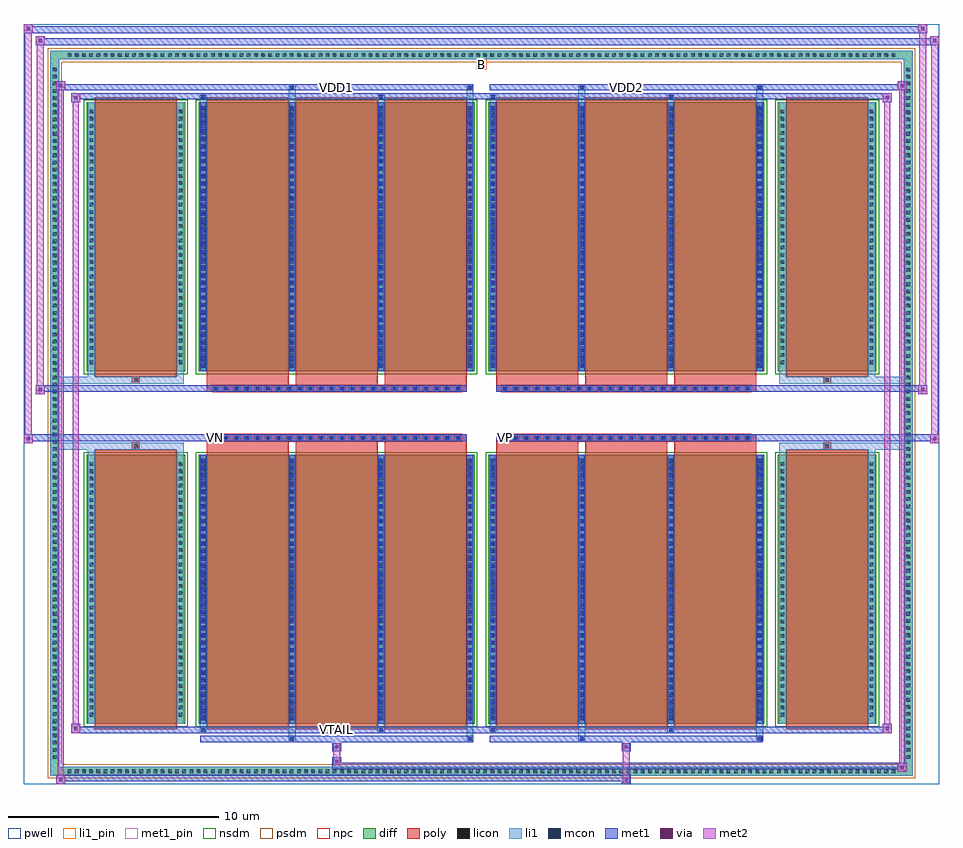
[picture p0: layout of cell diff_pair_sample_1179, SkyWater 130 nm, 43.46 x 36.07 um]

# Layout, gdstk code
import gdstk
lib = gdstk.Library(unit=1e-6, precision=5e-09)
def R(c, l, rs):  # rectangles x0, y0, x1, y1
    for r in rs: c.add(gdstk.rectangle(r[:2], r[2:], *l))
def A(c, l, x, y, w, h, nx, ny, dx, dy):  # array of equal rectangles
    R(c, l, [(x+i*dx, y+j*dy, x+i*dx+w, y+j*dy+h) for i in range(nx) for j in range(ny)])
def P(c, l, *ps):  # polygons
    for p in ps: c.add(gdstk.Polygon(p, *l))
pwell = (64, 44)
diff = (65, 20)
poly = (66, 20)
licon = (66, 44)
li1_pin = (67, 16)
li1 = (67, 20)
mcon = (67, 44)
met1_pin = (68, 16)
met1 = (68, 20)
via = (68, 44)
met2 = (69, 20)
nsdm = (93, 44)
psdm = (94, 20)
npc = (95, 20)

diff_pair_sample_1179 = lib.new_cell('diff_pair_sample_1179')
R(diff_pair_sample_1179, pwell, [(-21.73,-17.6,21.73,18.47), (-19.05,-15.79,-0.01,-0.805), (0.01,-15.79,19.05,-0.805), (-19.05,0.805,-0.01,15.79), (0.01,0.805,19.05,15.79)])
A(diff_pair_sample_1179, diff, -19.755, -17.2, 0.41, 0.41, 116, 2, 0.34, 33.99)
A(diff_pair_sample_1179, diff, -20.46, -16.525, 0.41, 0.41, 1, 97, 0, 0.34)
A(diff_pair_sample_1179, diff, 20.05, -16.525, 0.41, 0.41, 1, 97, 0, 0.34)
R(diff_pair_sample_1179, diff, [(-19.755,-17.2,19.755,-16.79), (-20.46,-16.525,-20.05,16.525), (20.05,-16.525,20.46,16.525), (-18.74,-14.745,-14.07,-1.985), (-13.43,-14.745,-0.32,-1.985), (0.32,-14.745,13.43,-1.985), (14.07,-14.745,18.74,-1.985), (-18.74,1.985,-14.07,14.745), (-13.43,1.985,-0.32,14.745), (0.32,1.985,13.43,14.745), (14.07,1.985,18.74,14.745), (-19.755,16.79,19.755,17.2)])
P(diff_pair_sample_1179, diff, [(20.46,17.2),(-20.46,17.2),(-20.46,-16.79),(-20.05,-16.79),(-20.05,16.79),(20.05,16.79),(20.05,-16.79),(-20.05,-16.79),(-20.46,-16.79),(-20.46,-17.2),(20.46,-17.2)])
A(diff_pair_sample_1179, poly, -13.04, -14.995, 3.89, 13.26, 3, 2, 4.22, 16.73)
A(diff_pair_sample_1179, poly, 0.71, -14.995, 3.89, 13.26, 3, 2, 4.22, 16.73)
A(diff_pair_sample_1179, poly, -13.04, -1.735, 3.89, 0.4, 3, 2, 4.22, 3.07)
A(diff_pair_sample_1179, poly, 0.71, -1.735, 3.89, 0.4, 3, 2, 4.22, 3.07)
A(diff_pair_sample_1179, poly, -12.79, -1.335, 0.33, 0.33, 24, 2, 0.5, 2.34)
A(diff_pair_sample_1179, poly, 0.96, -1.335, 0.33, 0.33, 24, 2, 0.5, 2.34)
R(diff_pair_sample_1179, poly, [(-18.35,-14.995,-14.46,-1.735), (14.46,-14.995,18.35,-1.735), (-16.57,-1.735,-16.24,-1.405), (-16.57,-1.735,-16.24,-1.405), (16.24,-1.735,16.57,-1.405), (16.24,-1.735,16.57,-1.405), (-13.04,-1.335,-0.71,-1.005), (0.71,-1.335,13.04,-1.005), (-13.04,1.005,-0.71,1.335), (0.71,1.005,13.04,1.335), (-16.57,1.405,-16.24,1.735), (-16.57,1.405,-16.24,1.735), (16.24,1.405,16.57,1.735), (16.24,1.405,16.57,1.735), (-18.35,1.735,-14.46,14.995), (14.46,1.735,18.35,14.995)])
A(diff_pair_sample_1179, licon, -19.635, -17.08, 0.17, 0.17, 116, 2, 0.34, 33.99)
A(diff_pair_sample_1179, licon, -20.34, -16.405, 0.17, 0.17, 1, 97, 0, 0.34)
A(diff_pair_sample_1179, licon, 20.17, -16.405, 0.17, 0.17, 1, 97, 0, 0.34)
A(diff_pair_sample_1179, licon, -18.6, -14.4, 0.17, 0.17, 1, 36, 0, 0.34)
A(diff_pair_sample_1179, licon, -14.38, -14.4, 0.17, 0.17, 1, 36, 0, 0.34)
A(diff_pair_sample_1179, licon, -13.29, -14.4, 0.17, 0.17, 4, 36, 4.22, 0.34)
A(diff_pair_sample_1179, licon, 0.46, -14.4, 0.17, 0.17, 4, 36, 4.22, 0.34)
A(diff_pair_sample_1179, licon, 14.21, -14.4, 0.17, 0.17, 1, 36, 0, 0.34)
A(diff_pair_sample_1179, licon, 18.43, -14.4, 0.17, 0.17, 1, 36, 0, 0.34)
A(diff_pair_sample_1179, licon, -12.71, -1.255, 0.17, 0.17, 24, 2, 0.5, 2.34)
A(diff_pair_sample_1179, licon, 1.04, -1.255, 0.17, 0.17, 24, 2, 0.5, 2.34)
A(diff_pair_sample_1179, licon, -18.6, 2.33, 0.17, 0.17, 1, 36, 0, 0.34)
A(diff_pair_sample_1179, licon, -14.38, 2.33, 0.17, 0.17, 1, 36, 0, 0.34)
A(diff_pair_sample_1179, licon, -13.29, 2.33, 0.17, 0.17, 4, 36, 4.22, 0.34)
A(diff_pair_sample_1179, licon, 0.46, 2.33, 0.17, 0.17, 4, 36, 4.22, 0.34)
A(diff_pair_sample_1179, licon, 14.21, 2.33, 0.17, 0.17, 1, 36, 0, 0.34)
A(diff_pair_sample_1179, licon, 18.43, 2.33, 0.17, 0.17, 1, 36, 0, 0.34)
R(diff_pair_sample_1179, licon, [(-16.49,-1.655,-16.32,-1.485), (16.32,-1.655,16.49,-1.485), (-16.49,1.485,-16.32,1.655), (16.32,1.485,16.49,1.655)])
R(diff_pair_sample_1179, li1_pin, [(-0.25,16.29,0.25,16.79)])
A(diff_pair_sample_1179, li1, -19.715, -17.16, 0.33, 0.33, 116, 2, 0.34, 33.99)
A(diff_pair_sample_1179, li1, -20.42, -16.485, 0.33, 0.33, 1, 97, 0, 0.34)
A(diff_pair_sample_1179, li1, 20.09, -16.485, 0.33, 0.33, 1, 97, 0, 0.34)
A(diff_pair_sample_1179, li1, -13.37, -14.745, 0.33, 12.76, 4, 2, 4.22, 16.73)
A(diff_pair_sample_1179, li1, 0.38, -14.745, 0.33, 12.76, 4, 2, 4.22, 16.73)
A(diff_pair_sample_1179, li1, -13.29, -14.57, 0.17, 0.17, 4, 35, 4.22, 0.36)
A(diff_pair_sample_1179, li1, -13.29, -14.57, 0.17, 12.41, 4, 2, 4.22, 16.73)
A(diff_pair_sample_1179, li1, 0.46, -14.57, 0.17, 0.17, 4, 35, 4.22, 0.36)
A(diff_pair_sample_1179, li1, 0.46, -14.57, 0.17, 12.41, 4, 2, 4.22, 16.73)
A(diff_pair_sample_1179, li1, -18.68, -14.48, 0.33, 0.33, 1, 36, 0, 0.34)
A(diff_pair_sample_1179, li1, -14.46, -14.48, 0.33, 0.33, 1, 36, 0, 0.34)
A(diff_pair_sample_1179, li1, -13.37, -14.48, 0.33, 0.33, 4, 36, 4.22, 0.34)
A(diff_pair_sample_1179, li1, 0.38, -14.48, 0.33, 0.33, 4, 36, 4.22, 0.34)
A(diff_pair_sample_1179, li1, 14.13, -14.48, 0.33, 0.33, 1, 36, 0, 0.34)
A(diff_pair_sample_1179, li1, 18.35, -14.48, 0.33, 0.33, 1, 36, 0, 0.34)
A(diff_pair_sample_1179, li1, -12.79, -1.335, 0.33, 0.33, 24, 2, 0.5, 2.34)
A(diff_pair_sample_1179, li1, 0.96, -1.335, 0.33, 0.33, 24, 2, 0.5, 2.34)
A(diff_pair_sample_1179, li1, -13.29, 2.16, 0.17, 0.17, 4, 35, 4.22, 0.36)
A(diff_pair_sample_1179, li1, 0.46, 2.16, 0.17, 0.17, 4, 35, 4.22, 0.36)
A(diff_pair_sample_1179, li1, -18.68, 2.25, 0.33, 0.33, 1, 36, 0, 0.34)
A(diff_pair_sample_1179, li1, -14.46, 2.25, 0.33, 0.33, 1, 36, 0, 0.34)
A(diff_pair_sample_1179, li1, -13.37, 2.25, 0.33, 0.33, 4, 36, 4.22, 0.34)
A(diff_pair_sample_1179, li1, 0.38, 2.25, 0.33, 0.33, 4, 36, 4.22, 0.34)
A(diff_pair_sample_1179, li1, 14.13, 2.25, 0.33, 0.33, 1, 36, 0, 0.34)
A(diff_pair_sample_1179, li1, 18.35, 2.25, 0.33, 0.33, 1, 36, 0, 0.34)
R(diff_pair_sample_1179, li1, [(-20.46,-17.2,-20.05,-16.79), (-20.46,-17.2,-20.05,-16.79), (-20.05,-17.2,20.05,-16.79), (20.05,-17.2,20.46,-16.79), (20.05,-17.2,20.46,-16.79), (-20.46,-16.79,-20.05,16.79), (20.05,-16.79,20.46,16.79), (-9.15,-15.55,-8.82,-14.745), (-9.07,-15.55,-8.9,-15.38), (-0.71,-15.55,-0.38,-14.745), (-0.63,-15.55,-0.46,-15.38), (4.6,-15.55,4.93,-14.745), (4.68,-15.55,4.85,-15.38), (13.04,-15.55,13.37,-14.745), (13.12,-15.55,13.29,-15.38), (-13.37,-15.12,-13.04,-14.745), (-13.29,-15.12,-13.12,-14.95), (-4.93,-15.12,-4.6,-14.745), (-4.85,-15.12,-4.68,-14.95), (0.38,-15.12,0.71,-14.745), (0.46,-15.12,0.63,-14.95), (8.82,-15.12,9.15,-14.745), (8.9,-15.12,9.07,-14.95), (-18.68,-14.745,-18.35,-1.985), (-14.46,-14.745,-14.13,-1.985), (14.13,-14.745,14.46,-1.985), (18.35,-14.745,18.68,-1.985), (-18.68,-1.985,-18.35,-1.405), (-14.46,-1.985,-14.13,-1.405), (14.13,-1.985,14.46,-1.405), (18.35,-1.985,18.68,-1.405), (-20.46,-1.735,-16.57,-1.405), (-18.68,-1.735,-16.57,-1.405), (-16.57,-1.735,-16.24,-1.405), (-16.24,-1.735,-14.13,-1.405), (14.13,-1.735,16.24,-1.405), (16.24,-1.735,16.57,-1.405), (16.24,-1.735,20.46,-1.405), (16.57,-1.735,18.68,-1.405), (-20.46,1.405,-16.57,1.735), (-18.68,1.405,-16.57,1.735), (-18.68,1.405,-18.35,1.985), (-16.57,1.405,-16.24,1.735), (-16.24,1.405,-14.13,1.735), (-14.46,1.405,-14.13,1.985), (14.13,1.405,16.24,1.735), (14.13,1.405,14.46,1.985), (16.24,1.405,16.57,1.735), (16.24,1.405,20.46,1.735), (16.57,1.405,18.68,1.735), (18.35,1.405,18.68,1.985), (-18.68,1.985,-18.35,14.745), (-14.46,1.985,-14.13,14.745), (14.13,1.985,14.46,14.745), (18.35,1.985,18.68,14.745), (-13.37,14.745,-13.04,15.12), (-9.15,14.745,-8.82,15.55), (-4.93,14.745,-4.6,15.12), (-0.71,14.745,-0.38,15.55), (0.38,14.745,0.71,15.12), (4.6,14.745,4.93,15.55), (8.82,14.745,9.15,15.12), (13.04,14.745,13.37,15.55), (-13.29,14.95,-13.12,15.12), (-4.85,14.95,-4.68,15.12), (0.46,14.95,0.63,15.12), (8.9,14.95,9.07,15.12), (-9.07,15.38,-8.9,15.55), (-0.63,15.38,-0.46,15.55), (4.68,15.38,4.85,15.55), (13.12,15.38,13.29,15.55), (-20.46,16.79,-20.05,17.2), (-20.46,16.79,-20.05,17.2), (-20.05,16.79,20.05,17.2), (20.05,16.79,20.46,17.2), (20.05,16.79,20.46,17.2)])
A(diff_pair_sample_1179, mcon, -13.29, -14.57, 0.17, 0.17, 4, 35, 4.22, 0.36)
A(diff_pair_sample_1179, mcon, 0.46, -14.57, 0.17, 0.17, 4, 35, 4.22, 0.36)
A(diff_pair_sample_1179, mcon, -12.71, -1.255, 0.17, 0.17, 24, 2, 0.5, 2.34)
A(diff_pair_sample_1179, mcon, 1.04, -1.255, 0.17, 0.17, 24, 2, 0.5, 2.34)
A(diff_pair_sample_1179, mcon, -13.29, 2.16, 0.17, 0.17, 4, 35, 4.22, 0.36)
A(diff_pair_sample_1179, mcon, 0.46, 2.16, 0.17, 0.17, 4, 35, 4.22, 0.36)
R(diff_pair_sample_1179, mcon, [(-9.07,-15.55,-8.9,-15.38), (-0.63,-15.55,-0.46,-15.38), (4.68,-15.55,4.85,-15.38), (13.12,-15.55,13.29,-15.38), (-13.29,-15.12,-13.12,-14.95), (-4.85,-15.12,-4.68,-14.95), (0.46,-15.12,0.63,-14.95), (8.9,-15.12,9.07,-14.95), (-13.29,14.95,-13.12,15.12), (-4.85,14.95,-4.68,15.12), (0.46,14.95,0.63,15.12), (8.9,14.95,9.07,15.12), (-9.07,15.38,-8.9,15.55), (-0.63,15.38,-0.46,15.55), (4.68,15.38,4.85,15.55), (13.12,15.38,13.29,15.55)])
R(diff_pair_sample_1179, met1_pin, [(-7.01,-15.16,-6.74,-14.89), (-12.76,-1.295,-12.49,-1.025), (0.99,-1.295,1.26,-1.025), (-7.01,15.34,-6.74,15.61), (6.74,15.34,7.01,15.61)])
A(diff_pair_sample_1179, met1, -13.35, -14.745, 0.29, 12.76, 4, 2, 4.22, 16.73)
A(diff_pair_sample_1179, met1, 0.4, -14.745, 0.29, 12.76, 4, 2, 4.22, 16.73)
A(diff_pair_sample_1179, met1, -13.35, -14.63, 0.29, 0.29, 4, 35, 4.22, 0.36)
A(diff_pair_sample_1179, met1, 0.4, -14.63, 0.29, 0.29, 4, 35, 4.22, 0.36)
A(diff_pair_sample_1179, met1, -12.77, -1.315, 0.29, 0.29, 24, 2, 0.5, 2.34)
A(diff_pair_sample_1179, met1, 0.98, -1.315, 0.29, 0.29, 24, 2, 0.5, 2.34)
A(diff_pair_sample_1179, met1, -13.35, 2.1, 0.29, 0.29, 4, 35, 4.22, 0.36)
A(diff_pair_sample_1179, met1, 0.4, 2.1, 0.29, 0.29, 4, 35, 4.22, 0.36)
R(diff_pair_sample_1179, met1, [(-20.19,-17.6,-19.76,-17.17), (6.66,-17.6,7.09,-17.17), (-20.19,-17.46,7.09,-17.17), (19.76,-17.03,20.19,-16.6), (-7.09,-16.89,20.19,-16.6), (-7.09,-16.75,-6.66,-16.32), (-7.09,-16.04,-6.66,-15.61), (6.66,-16.04,7.09,-15.61), (-13.35,-15.61,-0.4,-15.32), (-9.13,-15.61,-8.84,-15.32), (-0.69,-15.61,-0.4,-15.32), (0.4,-15.61,13.35,-15.32), (4.62,-15.61,4.91,-15.32), (13.06,-15.61,13.35,-15.32), (-19.48,-15.18,-19.05,-14.75), (-19.48,-15.18,-13.35,-14.89), (-13.35,-15.18,-13.06,-14.89), (-13.35,-15.18,-0.4,-14.89), (-4.91,-15.18,-4.62,-14.89), (-0.4,-15.18,0.4,-14.89), (0.4,-15.18,0.69,-14.89), (0.4,-15.18,13.35,-14.89), (8.84,-15.18,9.13,-14.89), (13.35,-15.18,19.48,-14.89), (19.05,-15.18,19.48,-14.75), (-21.73,-1.435,-21.3,-1.005), (21.3,-1.435,21.73,-1.005), (-21.73,-1.335,-0.71,-1.005), (-13.04,-1.335,-0.71,-1.005), (0.71,-1.335,13.04,-1.005), (0.71,-1.335,21.73,-1.005), (-21.16,0.905,-20.73,1.335), (20.73,0.905,21.16,1.335), (-21.16,1.005,-13.04,1.335), (-13.04,1.005,-0.71,1.335), (0.71,1.005,13.04,1.335), (13.04,1.005,21.16,1.335), (-19.48,14.75,-19.05,15.18), (19.05,14.75,19.48,15.18), (-19.48,14.89,-13.35,15.18), (-13.35,14.89,-13.06,15.18), (-13.35,14.89,-0.4,15.18), (-4.91,14.89,-4.62,15.18), (-0.4,14.89,0.4,15.18), (0.4,14.89,0.69,15.18), (0.4,14.89,13.35,15.18), (8.84,14.89,9.13,15.18), (13.35,14.89,19.48,15.18), (-20.19,15.32,-19.76,15.75), (-20.19,15.32,-13.35,15.61), (-13.35,15.32,-0.4,15.61), (-9.13,15.32,-8.84,15.61), (-0.69,15.32,-0.4,15.61), (0.4,15.32,13.35,15.61), (4.62,15.32,4.91,15.61), (13.06,15.32,13.35,15.61), (13.35,15.32,20.19,15.61), (19.76,15.32,20.19,15.75), (-21.16,17.47,-20.73,17.9), (-21.16,17.47,-19.05,17.8), (-19.05,17.47,19.05,17.8), (19.05,17.47,21.73,17.8), (21.3,17.47,21.73,17.9), (-21.73,18.04,-21.3,18.47), (-21.73,18.04,-19.05,18.37), (-19.05,18.04,19.05,18.37), (19.05,18.04,21.16,18.37), (20.73,18.04,21.16,18.47)])
R(diff_pair_sample_1179, via, [(-20.05,-17.46,-19.9,-17.31), (6.8,-17.46,6.95,-17.31), (19.9,-16.89,20.05,-16.74), (-6.95,-16.61,-6.8,-16.46), (-6.95,-15.9,-6.8,-15.75), (6.8,-15.9,6.95,-15.75), (-19.34,-15.04,-19.19,-14.89), (19.19,-15.04,19.34,-14.89), (-21.59,-1.295,-21.44,-1.145), (21.44,-1.295,21.59,-1.145), (-21.02,1.045,-20.87,1.195), (20.87,1.045,21.02,1.195), (-19.34,14.89,-19.19,15.04), (19.19,14.89,19.34,15.04), (-20.05,15.46,-19.9,15.61), (19.9,15.46,20.05,15.61), (-21.02,17.61,-20.87,17.76), (21.44,17.61,21.59,17.76), (-21.59,18.18,-21.44,18.33), (20.87,18.18,21.02,18.33)])
R(diff_pair_sample_1179, met2, [(-20.19,-17.6,-19.76,-17.17), (-20.12,-17.6,-19.83,15.75), (-19.83,-17.6,-19.76,-17.17), (-20.14,-17.55,-19.81,-17.22), (6.71,-17.55,7.04,-17.22), (6.71,-17.22,7.04,-15.99), (19.76,-17.03,20.19,-16.6), (19.83,-17.03,20.12,15.75), (20.12,-17.03,20.19,-16.6), (19.81,-16.98,20.14,-16.65), (-7.04,-16.7,-6.71,-16.37), (-7.04,-16.37,-6.71,-15.99), (-7.04,-15.99,-6.71,-15.66), (6.71,-15.99,7.04,-15.66), (-19.48,-15.18,-19.05,-14.75), (-19.41,-15.18,-19.12,15.18), (-19.12,-15.18,-19.05,-14.75), (19.05,-15.18,19.48,-14.75), (19.12,-15.18,19.41,15.18), (19.41,-15.18,19.48,-14.75), (-19.43,-15.13,-19.1,-14.8), (19.1,-15.13,19.43,-14.8), (-21.73,-1.435,-21.3,-1.005), (-21.68,-1.435,-21.35,18.47), (-21.35,-1.435,-21.3,-1.005), (21.3,-1.435,21.73,-1.005), (21.35,-1.435,21.68,17.9), (21.68,-1.435,21.73,-1.005), (-21.68,-1.385,-21.35,-1.055), (21.35,-1.385,21.68,-1.055), (-21.16,0.905,-20.73,1.335), (-21.11,0.905,-20.78,17.9), (-20.78,0.905,-20.73,1.335), (20.73,0.905,21.16,1.335), (20.78,0.905,21.11,18.47), (21.11,0.905,21.16,1.335), (-21.11,0.955,-20.78,1.285), (20.78,0.955,21.11,1.285), (-19.48,14.75,-19.05,15.18), (-19.12,14.75,-19.05,15.18), (19.05,14.75,19.48,15.18), (19.41,14.75,19.48,15.18), (-19.43,14.8,-19.1,15.13), (19.1,14.8,19.43,15.13), (-20.19,15.32,-19.76,15.75), (-19.83,15.32,-19.76,15.75), (19.76,15.32,20.19,15.75), (20.12,15.32,20.19,15.75), (-20.14,15.37,-19.81,15.7), (19.81,15.37,20.14,15.7), (-21.16,17.47,-20.73,17.9), (-20.78,17.47,-20.73,17.9), (21.3,17.47,21.73,17.9), (21.68,17.47,21.73,17.9), (-21.11,17.52,-20.78,17.85), (21.35,17.52,21.68,17.85), (-21.73,18.04,-21.3,18.47), (-21.35,18.04,-21.3,18.47), (20.73,18.04,21.16,18.47), (21.11,18.04,21.16,18.47), (-21.68,18.09,-21.35,18.42), (20.78,18.09,21.11,18.42)])
R(diff_pair_sample_1179, nsdm, [(-18.87,-14.875,-13.94,-1.855), (-13.56,-14.875,-0.19,-1.855), (0.19,-14.875,13.56,-1.855), (13.94,-14.875,18.87,-1.855), (-18.87,1.855,-13.94,14.875), (-13.56,1.855,-0.19,14.875), (0.19,1.855,13.56,14.875), (13.94,1.855,18.87,14.875)])
P(diff_pair_sample_1179, psdm, [(20.59,17.33),(-20.59,17.33),(-20.59,-16.66),(-19.92,-16.66),(-19.92,16.66),(19.92,16.66),(19.92,-16.66),(-19.92,-16.66),(-20.59,-16.66),(-20.59,-17.33),(20.59,-17.33)])
A(diff_pair_sample_1179, npc, -12.81, -1.355, 0.37, 0.37, 24, 2, 0.5, 2.34)
A(diff_pair_sample_1179, npc, 0.94, -1.355, 0.37, 0.37, 24, 2, 0.5, 2.34)
R(diff_pair_sample_1179, npc, [(-16.59,-1.755,-16.22,-1.385), (16.22,-1.755,16.59,-1.385), (-12.81,-1.355,-11.94,-0.985), (-12.81,-1.355,-11.94,-0.985), (-12.31,-1.355,-11.44,-0.985), (-12.31,-1.355,-11.44,-0.985), (-11.81,-1.355,-10.94,-0.985), (-11.81,-1.355,-10.94,-0.985), (-11.31,-1.355,-10.44,-0.985), (-11.31,-1.355,-10.44,-0.985), (-10.81,-1.355,-9.94,-0.985), (-10.81,-1.355,-9.94,-0.985), (-10.31,-1.355,-9.44,-0.985), (-10.31,-1.355,-9.44,-0.985), (-9.81,-1.355,-8.94,-0.985), (-9.81,-1.355,-8.94,-0.985), (-9.31,-1.355,-8.44,-0.985), (-9.31,-1.355,-8.44,-0.985), (-8.81,-1.355,-7.94,-0.985), (-8.81,-1.355,-7.94,-0.985), (-8.31,-1.355,-7.44,-0.985), (-8.31,-1.355,-7.44,-0.985), (-7.81,-1.355,-6.94,-0.985), (-7.81,-1.355,-6.94,-0.985), (-7.31,-1.355,-6.44,-0.985), (-7.31,-1.355,-6.44,-0.985), (-6.81,-1.355,-5.94,-0.985), (-6.81,-1.355,-5.94,-0.985), (-6.31,-1.355,-5.44,-0.985), (-6.31,-1.355,-5.44,-0.985), (-5.81,-1.355,-4.94,-0.985), (-5.81,-1.355,-4.94,-0.985), (-5.31,-1.355,-4.44,-0.985), (-5.31,-1.355,-4.44,-0.985), (-4.81,-1.355,-3.94,-0.985), (-4.81,-1.355,-3.94,-0.985), (-4.31,-1.355,-3.44,-0.985), (-4.31,-1.355,-3.44,-0.985), (-3.81,-1.355,-2.94,-0.985), (-3.81,-1.355,-2.94,-0.985), (-3.31,-1.355,-2.44,-0.985), (-3.31,-1.355,-2.44,-0.985), (-2.81,-1.355,-1.94,-0.985), (-2.81,-1.355,-1.94,-0.985), (-2.31,-1.355,-1.44,-0.985), (-2.31,-1.355,-1.44,-0.985), (-1.81,-1.355,-0.94,-0.985), (-1.81,-1.355,-0.94,-0.985), (0.94,-1.355,1.81,-0.985), (0.94,-1.355,1.81,-0.985), (1.44,-1.355,2.31,-0.985), (1.44,-1.355,2.31,-0.985), (1.94,-1.355,2.81,-0.985), (1.94,-1.355,2.81,-0.985), (2.44,-1.355,3.31,-0.985), (2.44,-1.355,3.31,-0.985), (2.94,-1.355,3.81,-0.985), (2.94,-1.355,3.81,-0.985), (3.44,-1.355,4.31,-0.985), (3.44,-1.355,4.31,-0.985), (3.94,-1.355,4.81,-0.985), (3.94,-1.355,4.81,-0.985), (4.44,-1.355,5.31,-0.985), (4.44,-1.355,5.31,-0.985), (4.94,-1.355,5.81,-0.985), (4.94,-1.355,5.81,-0.985), (5.44,-1.355,6.31,-0.985), (5.44,-1.355,6.31,-0.985), (5.94,-1.355,6.81,-0.985), (5.94,-1.355,6.81,-0.985), (6.44,-1.355,7.31,-0.985), (6.44,-1.355,7.31,-0.985), (6.94,-1.355,7.81,-0.985), (6.94,-1.355,7.81,-0.985), (7.44,-1.355,8.31,-0.985), (7.44,-1.355,8.31,-0.985), (7.94,-1.355,8.81,-0.985), (7.94,-1.355,8.81,-0.985), (8.44,-1.355,9.31,-0.985), (8.44,-1.355,9.31,-0.985), (8.94,-1.355,9.81,-0.985), (8.94,-1.355,9.81,-0.985), (9.44,-1.355,10.31,-0.985), (9.44,-1.355,10.31,-0.985), (9.94,-1.355,10.81,-0.985), (9.94,-1.355,10.81,-0.985), (10.44,-1.355,11.31,-0.985), (10.44,-1.355,11.31,-0.985), (10.94,-1.355,11.81,-0.985), (10.94,-1.355,11.81,-0.985), (11.44,-1.355,12.31,-0.985), (11.44,-1.355,12.31,-0.985), (11.94,-1.355,12.81,-0.985), (11.94,-1.355,12.81,-0.985), (-12.81,0.985,-11.94,1.355), (-12.81,0.985,-11.94,1.355), (-12.31,0.985,-11.44,1.355), (-12.31,0.985,-11.44,1.355), (-11.81,0.985,-10.94,1.355), (-11.81,0.985,-10.94,1.355), (-11.31,0.985,-10.44,1.355), (-11.31,0.985,-10.44,1.355), (-10.81,0.985,-9.94,1.355), (-10.81,0.985,-9.94,1.355), (-10.31,0.985,-9.44,1.355), (-10.31,0.985,-9.44,1.355), (-9.81,0.985,-8.94,1.355), (-9.81,0.985,-8.94,1.355), (-9.31,0.985,-8.44,1.355), (-9.31,0.985,-8.44,1.355), (-8.81,0.985,-7.94,1.355), (-8.81,0.985,-7.94,1.355), (-8.31,0.985,-7.44,1.355), (-8.31,0.985,-7.44,1.355), (-7.81,0.985,-6.94,1.355), (-7.81,0.985,-6.94,1.355), (-7.31,0.985,-6.44,1.355), (-7.31,0.985,-6.44,1.355), (-6.81,0.985,-5.94,1.355), (-6.81,0.985,-5.94,1.355), (-6.31,0.985,-5.44,1.355), (-6.31,0.985,-5.44,1.355), (-5.81,0.985,-4.94,1.355), (-5.81,0.985,-4.94,1.355), (-5.31,0.985,-4.44,1.355), (-5.31,0.985,-4.44,1.355), (-4.81,0.985,-3.94,1.355), (-4.81,0.985,-3.94,1.355), (-4.31,0.985,-3.44,1.355), (-4.31,0.985,-3.44,1.355), (-3.81,0.985,-2.94,1.355), (-3.81,0.985,-2.94,1.355), (-3.31,0.985,-2.44,1.355), (-3.31,0.985,-2.44,1.355), (-2.81,0.985,-1.94,1.355), (-2.81,0.985,-1.94,1.355), (-2.31,0.985,-1.44,1.355), (-2.31,0.985,-1.44,1.355), (-1.81,0.985,-0.94,1.355), (-1.81,0.985,-0.94,1.355), (0.94,0.985,1.81,1.355), (0.94,0.985,1.81,1.355), (1.44,0.985,2.31,1.355), (1.44,0.985,2.31,1.355), (1.94,0.985,2.81,1.355), (1.94,0.985,2.81,1.355), (2.44,0.985,3.31,1.355), (2.44,0.985,3.31,1.355), (2.94,0.985,3.81,1.355), (2.94,0.985,3.81,1.355), (3.44,0.985,4.31,1.355), (3.44,0.985,4.31,1.355), (3.94,0.985,4.81,1.355), (3.94,0.985,4.81,1.355), (4.44,0.985,5.31,1.355), (4.44,0.985,5.31,1.355), (4.94,0.985,5.81,1.355), (4.94,0.985,5.81,1.355), (5.44,0.985,6.31,1.355), (5.44,0.985,6.31,1.355), (5.94,0.985,6.81,1.355), (5.94,0.985,6.81,1.355), (6.44,0.985,7.31,1.355), (6.44,0.985,7.31,1.355), (6.94,0.985,7.81,1.355), (6.94,0.985,7.81,1.355), (7.44,0.985,8.31,1.355), (7.44,0.985,8.31,1.355), (7.94,0.985,8.81,1.355), (7.94,0.985,8.81,1.355), (8.44,0.985,9.31,1.355), (8.44,0.985,9.31,1.355), (8.94,0.985,9.81,1.355), (8.94,0.985,9.81,1.355), (9.44,0.985,10.31,1.355), (9.44,0.985,10.31,1.355), (9.94,0.985,10.81,1.355), (9.94,0.985,10.81,1.355), (10.44,0.985,11.31,1.355), (10.44,0.985,11.31,1.355), (10.94,0.985,11.81,1.355), (10.94,0.985,11.81,1.355), (11.44,0.985,12.31,1.355), (11.44,0.985,12.31,1.355), (11.94,0.985,12.81,1.355), (11.94,0.985,12.81,1.355), (-16.59,1.385,-16.22,1.755), (16.22,1.385,16.59,1.755)])
diff_pair_sample_1179.add(gdstk.Label('VTAIL', (-6.875,-15.025), layer=68, texttype=5))
diff_pair_sample_1179.add(gdstk.Label('VN', (-12.625,-1.16), layer=68, texttype=5))
diff_pair_sample_1179.add(gdstk.Label('VP', (1.125,-1.16), layer=68, texttype=5))
diff_pair_sample_1179.add(gdstk.Label('B', (0,16.54), layer=67, texttype=5))
diff_pair_sample_1179.add(gdstk.Label('VDD2', (6.875,15.475), layer=68, texttype=5))
diff_pair_sample_1179.add(gdstk.Label('VDD1', (-6.875,15.475), layer=68, texttype=5))

lib.write_gds('diff_pair_sample_1179.gds')
